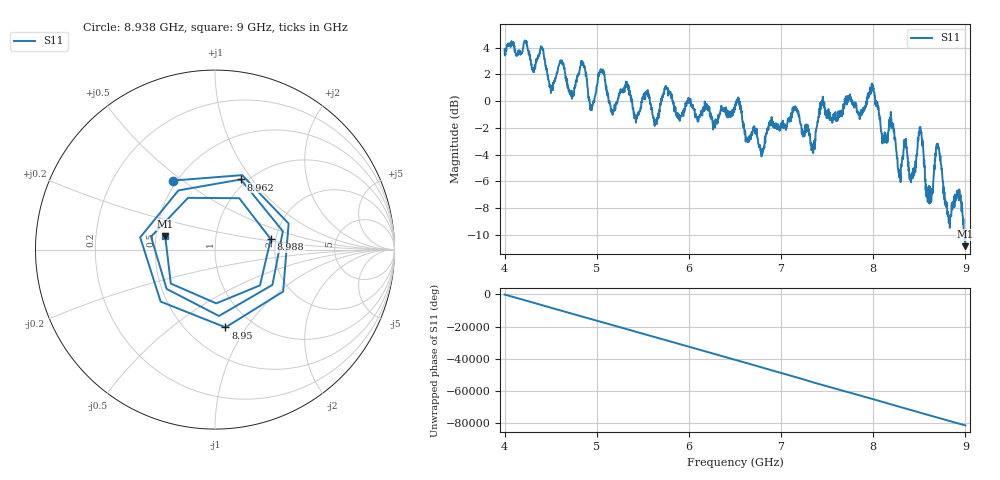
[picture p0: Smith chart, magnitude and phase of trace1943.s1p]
! Created with skrf 1.8.0 (http://scikit-rf.org).
# Hz S RI R 50.0
!freq ReS11 ImS11
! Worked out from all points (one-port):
!   1601 points, 4 GHz to 9 GHz, reference 50 ohm
!   lowest |S11| = -10.8 dB at 9 GHz (marker M1), VSWR 1.81, Z = 28 + j4.59 ohm
!   |S11| at or under -10 dB: 8.986972 GHz to 8.98811 GHz (1.138 MHz wide, 0.0127 % of centre); 8.991565 GHz to end of sweep
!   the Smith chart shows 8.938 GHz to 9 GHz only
!   S11 on the Smith chart (normalised r, x): 8.938 GHz: 0.48, +0.46; 8.95 GHz: 0.75, -0.81; 8.962 GHz: 0.93, +0.88; 8.988 GHz: 1.88, +0.24; 9 GHz: 0.56, +0.09
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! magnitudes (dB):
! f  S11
! 4 GHz  3.9
! 4.403 GHz  4.0
! 4.506 GHz  0.9
! 4.625 GHz  2.9
! 4.728 GHz  0.8
! 4.853 GHz  2.9
! 4.941 GHz  -0.4
! 5.053 GHz  2.2
! 5.25 GHz  0.6
! 5.875 GHz  -1.1
! 6.5 GHz  -0.3
! 6.788 GHz  -4.1
! 7.125 GHz  -0.5
! 7.344 GHz  -3.3
! 7.438 GHz  0.0
! 7.75 GHz  0.1
! 7.991 GHz  1.0
! 8.109 GHz  -3.1
! 8.375 GHz  -4.2
! 8.512 GHz  -2.0
! 8.603 GHz  -7.2
! 8.7 GHz  -3.2
! 8.822 GHz  -9.0
! 8.938 GHz  -7.0
! 8.95 GHz  -7.2
! 8.962 GHz  -7.6
! 8.988 GHz  -10.0
! 9 GHz  -10.8
